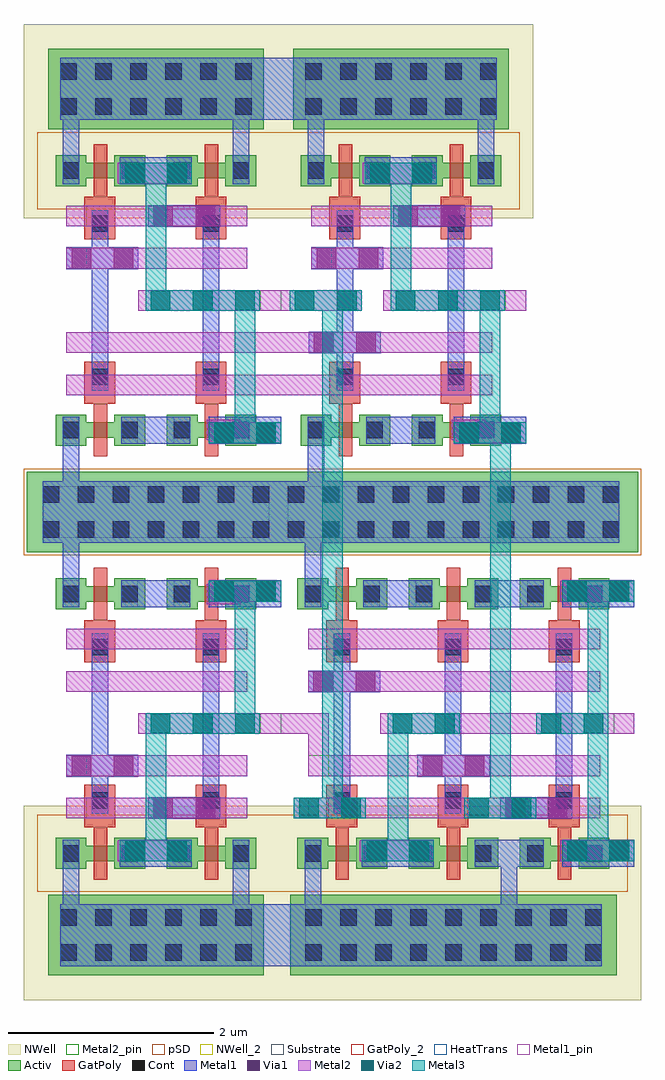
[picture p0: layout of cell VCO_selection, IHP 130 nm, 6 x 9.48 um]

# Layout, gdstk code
from math import pi, radians
import gdstk
lib = gdstk.Library(unit=1e-6, precision=1e-09)
def R(c, l, rs):  # rectangles x0, y0, x1, y1
    for r in rs: c.add(gdstk.rectangle(r[:2], r[2:], *l))
def A(c, l, x, y, w, h, nx, ny, dx, dy):  # array of equal rectangles
    R(c, l, [(x+i*dx, y+j*dy, x+i*dx+w, y+j*dy+h) for i in range(nx) for j in range(ny)])
Activ = (1, 0)
GatPoly = (5, 0)
GatPoly_2 = (5, 2)
Cont = (6, 0)
Metal1 = (8, 0)
Metal1_pin = (8, 2)
Metal2 = (10, 0)
Metal2_pin = (10, 2)
pSD = (14, 0)
Via1 = (19, 0)
Via2 = (29, 0)
Metal3 = (30, 0)
NWell = (31, 0)
NWell_2 = (31, 2)
Substrate = (40, 0)
HeatTrans = (51, 0)

via_4 = lib.new_cell('Via$4')
R(via_4, Metal2, [(-0.1,-0.35,0.1,0.35)])
R(via_4, Via2, [(-0.095,-0.3,0.095,-0.11), (-0.095,0.11,0.095,0.3)])
R(via_4, Metal3, [(-0.1,-0.35,0.1,0.35)])

via_2 = lib.new_cell('Via$2')
R(via_2, Metal1, [(-0.105,-0.35,0.105,0.35)])
R(via_2, Metal2, [(-0.1,-0.35,0.1,0.35)])
R(via_2, Via1, [(-0.095,-0.3,0.095,-0.11), (-0.095,0.11,0.095,0.3)])

ntap1 = lib.new_cell('ntap1')
R(ntap1, Activ, [(0,0,2.09,0.78)])
A(ntap1, Cont, 0.115, 0.14, 0.16, 0.16, 6, 2, 0.34, 0.34)
R(ntap1, Metal1, [(0.115,0.09,1.975,0.69)])
R(ntap1, Metal1_pin, [(0.115,0.09,1.975,0.69), (0.115,0.14,1.975,0.64)])
R(ntap1, NWell, [(-0.24,-0.24,2.33,1.02), (0,0,2.09,0.78)])
R(ntap1, NWell_2, [(0,0,2.09,0.78)])
ntap1.add(gdstk.Label('well', (1.045,0.01), layer=63, texttype=0))
ntap1.add(gdstk.Label('well', (1.045,0.01), layer=31, texttype=0))

ptap1 = lib.new_cell('ptap1')
R(ptap1, Activ, [(0,0,2.51,0.78)])
A(ptap1, Cont, 0.155, 0.14, 0.16, 0.16, 7, 2, 0.34, 0.34)
R(ptap1, Metal1, [(0.155,0.09,2.355,0.69), (0.155,0.14,2.355,0.64)])
R(ptap1, Metal1_pin, [(0.155,0.14,2.355,0.64)])
R(ptap1, pSD, [(-0.03,-0.03,2.54,0.81)])
R(ptap1, Substrate, [(0,0,2.51,0.78)])
ptap1.add(gdstk.Label('sub!', (1.255,0.01), layer=63, texttype=0))
ptap1.add(gdstk.Label('sub!', (1.255,0.01), layer=40, texttype=0))

nmos = lib.new_cell('nmos')
R(nmos, Activ, [(0,0,0.3,0.3), (0.57,0,0.87,0.3), (0,0.075,0.87,0.225)])
R(nmos, GatPoly, [(0.37,-0.105,0.5,0.405)])
R(nmos, GatPoly_2, [(0.37,-0.105,0.5,0.405)])
R(nmos, Cont, [(0.07,0.07,0.23,0.23), (0.64,0.07,0.8,0.23)])
R(nmos, Metal1, [(0.07,0.02,0.23,0.28), (0.64,0.02,0.8,0.28)])
R(nmos, Metal1_pin, [(0.07,0.02,0.23,0.28), (0.64,0.02,0.8,0.28)])
R(nmos, HeatTrans, [(0.37,-0.105,0.5,0.405)])
nmos.add(gdstk.Label('nmos', (0.435,0.15), layer=63, texttype=0))
nmos.add(gdstk.Label('nmos', (0.435,0.15), layer=51, texttype=0))

pmos = lib.new_cell('pmos')
R(pmos, Activ, [(0,0,0.3,0.3), (0.57,0,0.87,0.3), (0,0.075,0.87,0.225)])
R(pmos, GatPoly, [(0.37,-0.105,0.5,0.405), (0.37,-0.105,0.5,0.405)])
R(pmos, Cont, [(0.07,0.07,0.23,0.23), (0.64,0.07,0.8,0.23)])
R(pmos, Metal1, [(0.07,0.02,0.23,0.28), (0.07,0.02,0.23,0.28), (0.64,0.02,0.8,0.28), (0.64,0.02,0.8,0.28)])
R(pmos, pSD, [(-0.18,-0.225,1.05,0.525)])
R(pmos, NWell, [(-0.31,-0.31,1.18,0.61)])
R(pmos, Substrate, [(0.57,0,0.87,0.3)])
R(pmos, HeatTrans, [(0.37,-0.105,0.5,0.405)])
pmos.add(gdstk.Label('pmos', (0.435,0.15), layer=63, texttype=0))
pmos.add(gdstk.Label('pmos', (0.435,0.15), layer=51, texttype=0))

via = lib.new_cell('Via')
R(via, GatPoly, [(-0.15,-0.15,0.15,0.15)])
R(via, Cont, [(-0.08,-0.08,0.08,0.08)])
R(via, Metal1, [(-0.13,-0.08,0.13,0.08)])

via_7 = lib.new_cell('Via$7')
R(via_7, Metal2, [(-0.555,-0.1,0.555,0.1)])
A(via_7, Via2, -0.505, -0.095, 0.19, 0.19, 3, 1, 0.41, 0)
R(via_7, Metal3, [(-0.555,-0.1,0.555,0.1)])

via_6 = lib.new_cell('Via$6')
R(via_6, Metal1, [(-0.35,-0.105,0.35,0.105)])
R(via_6, Metal2, [(-0.35,-0.1,0.35,0.1)])
R(via_6, Via1, [(-0.3,-0.095,-0.11,0.095), (0.11,-0.095,0.3,0.095)])

nand_2in = lib.new_cell('NAND_2in')
R(nand_2in, GatPoly, [(9.375,7.165,9.675,7.275), (10.455,7.165,10.755,7.275), (9.375,9.065,9.675,9.175), (10.455,9.065,10.755,9.175)])
R(nand_2in, Metal1, [(9.735,6.78,10.405,7.04), (10.585,6.78,11.285,7.04), (9.72,9.3,10.42,9.56)])
R(nand_2in, Metal1_pin, [(9.16,6.015,9.36,6.215), (9.325,10.12,9.525,10.32)])
R(nand_2in, Metal2_pin, [(11.085,8.07,11.285,8.27), (9.2,8.48,9.4,8.68), (9.2,8.89,9.4,9.09)])
nand_2in.add(gdstk.FlexPath([(9.245,9.56),(9.245,10.525)], 0.16, ends="flush", simple_path=True, layer=8, datatype=0))  # Metal1
nand_2in.add(gdstk.FlexPath([(10.895,9.56),(10.895,10.525)], 0.16, ends="flush", simple_path=True, layer=8, datatype=0))  # Metal1
nand_2in.add(gdstk.FlexPath([(9.245,6.78),(9.245,6.415)], 0.16, ends="flush", simple_path=True, layer=8, datatype=0))  # Metal1
nand_2in.add(gdstk.FlexPath([(9.525,7.555),(9.525,8.785)], 0.16, ends="flush", simple_path=True, layer=8, datatype=0))  # Metal1
nand_2in.add(gdstk.FlexPath([(10.605,7.555),(10.605,8.785)], 0.16, ends="flush", simple_path=True, layer=8, datatype=0))  # Metal1
nand_2in.add(gdstk.FlexPath([(9.9,8.17),(11.285,8.17)], 0.2, ends="flush", simple_path=True, layer=10, datatype=0))  # Metal2
nand_2in.add(gdstk.FlexPath([(10.895,6.91),(10.565,6.91)], 0.2, ends="flush", simple_path=True, layer=10, datatype=0))  # Metal2
nand_2in.add(gdstk.FlexPath([(9.865,9.405),(9.7,9.405)], 0.2, ends="flush", simple_path=True, layer=10, datatype=0))  # Metal2
nand_2in.add(gdstk.FlexPath([(10.43,8.58),(10.43,8.58)], 0.2, ends="flush", simple_path=True, layer=10, datatype=0))  # Metal2
nand_2in.add(gdstk.FlexPath([(9.2,8.99),(10.955,8.99)], 0.2, ends="flush", simple_path=True, layer=10, datatype=0))  # Metal2
nand_2in.add(gdstk.FlexPath([(9.2,8.58),(10.955,8.58)], 0.2, ends="flush", simple_path=True, layer=10, datatype=0))  # Metal2
nand_2in.add(gdstk.FlexPath([(9.2,7.76),(10.955,7.76)], 0.2, ends="flush", simple_path=True, layer=10, datatype=0))  # Metal2
nand_2in.add(gdstk.FlexPath([(9.2,7.35),(10.955,7.35)], 0.2, ends="flush", simple_path=True, layer=10, datatype=0))  # Metal2
nand_2in.add(gdstk.FlexPath([(10.07,9.305),(10.07,8.07)], 0.2, ends="flush", simple_path=True, layer=30, datatype=0))  # Metal3
nand_2in.add(gdstk.FlexPath([(10.935,6.885),(10.935,8.07)], 0.2, ends="flush", simple_path=True, layer=30, datatype=0))  # Metal3
nand_2in.add(gdstk.Reference(via_4, (10.935,6.885), rotation=3*pi/2))
nand_2in.add(gdstk.Reference(via_2, (10.935,6.885), rotation=3*pi/2))
nand_2in.add(gdstk.Reference(ntap1, (9.025,9.835)))
nand_2in.add(gdstk.Reference(ptap1, (8.815,5.725)))
nand_2in.add(gdstk.Reference(nmos, (10.175,6.76)))
nand_2in.add(gdstk.Reference(pmos, (10.175,9.28)))
nand_2in.add(gdstk.Reference(nmos, (9.095,6.76)))
nand_2in.add(gdstk.Reference(pmos, (9.095,9.28)))
nand_2in.add(gdstk.Reference(via, (9.525,8.915), rotation=pi/2))
nand_2in.add(gdstk.Reference(via, (10.605,8.915), rotation=pi/2))
nand_2in.add(gdstk.Reference(via, (10.605,7.425), rotation=3*pi/2))
nand_2in.add(gdstk.Reference(via, (9.525,7.425), rotation=3*pi/2))
nand_2in.add(gdstk.Reference(via_2, (9.55,8.58), rotation=3*pi/2))
nand_2in.add(gdstk.Reference(via_7, (10.525,8.17)))
nand_2in.add(gdstk.Reference(via_2, (10.07,9.405), rotation=3*pi/2))
nand_2in.add(gdstk.Reference(via_4, (10.07,9.405), rotation=3*pi/2))
nand_2in.add(gdstk.Reference(via_6, (10.345,8.99)))
nand_2in.add(gdstk.Label('y', (11.185,8.17), layer=10, texttype=25))
nand_2in.add(gdstk.Label('b', (9.315,8.575), layer=10, texttype=25))
nand_2in.add(gdstk.Label('a', (9.3,8.99), layer=10, texttype=25))
nand_2in.add(gdstk.Label('VP', (9.295,10.22), layer=8, texttype=25))
nand_2in.add(gdstk.Label('GND', (9.26,6.115), layer=8, texttype=25))

ntap1_1 = lib.new_cell('ntap1$1')
R(ntap1_1, Activ, [(0,0,3.17,0.78)])
A(ntap1_1, Cont, 0.145, 0.14, 0.16, 0.16, 9, 2, 0.34, 0.34)
R(ntap1_1, Metal1, [(0.145,0.09,3.025,0.69)])
R(ntap1_1, Metal1_pin, [(0.145,0.09,3.025,0.69), (0.145,0.14,3.025,0.64)])
R(ntap1_1, NWell, [(-0.24,-0.24,3.41,1.02), (0,0,3.17,0.78)])
R(ntap1_1, NWell_2, [(0,0,3.17,0.78)])
ntap1_1.add(gdstk.Label('well', (1.585,0.01), layer=63, texttype=0))
ntap1_1.add(gdstk.Label('well', (1.585,0.01), layer=31, texttype=0))

ptap1_1 = lib.new_cell('ptap1$1')
R(ptap1_1, Activ, [(0,0,3.59,0.78)])
A(ptap1_1, Cont, 0.185, 0.14, 0.16, 0.16, 10, 2, 0.34, 0.34)
R(ptap1_1, Metal1, [(0.185,0.09,3.405,0.69), (0.185,0.14,3.405,0.64)])
R(ptap1_1, Metal1_pin, [(0.185,0.14,3.405,0.64)])
R(ptap1_1, pSD, [(-0.03,-0.03,3.62,0.81)])
R(ptap1_1, Substrate, [(0,0,3.59,0.78)])
ptap1_1.add(gdstk.Label('sub!', (1.795,0.01), layer=63, texttype=0))
ptap1_1.add(gdstk.Label('sub!', (1.795,0.01), layer=40, texttype=0))

nmos_1 = lib.new_cell('nmos$1')
R(nmos_1, Activ, [(0,0,0.3,0.3), (0.57,0,0.87,0.3), (0,0.075,0.87,0.225)])
R(nmos_1, GatPoly, [(0.37,-0.105,0.5,0.405)])
R(nmos_1, GatPoly_2, [(0.37,-0.105,0.5,0.405)])
R(nmos_1, Cont, [(0.07,0.07,0.23,0.23), (0.64,0.07,0.8,0.23)])
R(nmos_1, Metal1, [(0.07,0.02,0.23,0.28), (0.64,0.02,0.8,0.28)])
R(nmos_1, Metal1_pin, [(0.07,0.02,0.23,0.28), (0.64,0.02,0.8,0.28)])
R(nmos_1, HeatTrans, [(0.37,-0.105,0.5,0.405)])
nmos_1.add(gdstk.Label('nmos', (0.435,0.15), layer=63, texttype=0))
nmos_1.add(gdstk.Label('nmos', (0.435,0.15), layer=51, texttype=0))

pmos_1 = lib.new_cell('pmos$1')
R(pmos_1, Activ, [(0,0,0.3,0.3), (0.57,0,0.87,0.3), (0,0.075,0.87,0.225)])
R(pmos_1, GatPoly, [(0.37,-0.105,0.5,0.405), (0.37,-0.105,0.5,0.405)])
R(pmos_1, Cont, [(0.07,0.07,0.23,0.23), (0.64,0.07,0.8,0.23)])
R(pmos_1, Metal1, [(0.07,0.02,0.23,0.28), (0.07,0.02,0.23,0.28), (0.64,0.02,0.8,0.28), (0.64,0.02,0.8,0.28)])
R(pmos_1, pSD, [(-0.18,-0.225,1.05,0.525)])
R(pmos_1, NWell, [(-0.31,-0.31,1.18,0.61)])
R(pmos_1, Substrate, [(0.57,0,0.87,0.3)])
R(pmos_1, HeatTrans, [(0.37,-0.105,0.5,0.405)])
pmos_1.add(gdstk.Label('pmos', (0.435,0.15), layer=63, texttype=0))
pmos_1.add(gdstk.Label('pmos', (0.435,0.15), layer=51, texttype=0))

via_8 = lib.new_cell('Via$8')
R(via_8, GatPoly, [(-0.15,-0.15,0.15,0.15)])
R(via_8, Cont, [(-0.08,-0.08,0.08,0.08)])
R(via_8, Metal1, [(-0.13,-0.08,0.13,0.08)])

via_2_1 = lib.new_cell('Via$2$1')
R(via_2_1, Metal1, [(-0.105,-0.35,0.105,0.35)])
R(via_2_1, Metal2, [(-0.1,-0.35,0.1,0.35)])
R(via_2_1, Via1, [(-0.095,-0.3,0.095,-0.11), (-0.095,0.11,0.095,0.3)])

via_8_1 = lib.new_cell('Via$8$1')
R(via_8_1, Metal2, [(-0.35,-0.1,0.35,0.1)])
R(via_8_1, Via2, [(-0.3,-0.095,-0.11,0.095), (0.11,-0.095,0.3,0.095)])
R(via_8_1, Metal3, [(-0.35,-0.1,0.35,0.1)])

via_4_1 = lib.new_cell('Via$4$1')
R(via_4_1, Metal2, [(-0.1,-0.35,0.1,0.35)])
R(via_4_1, Via2, [(-0.095,-0.3,0.095,-0.11), (-0.095,0.11,0.095,0.3)])
R(via_4_1, Metal3, [(-0.1,-0.35,0.1,0.35)])

via_6_1 = lib.new_cell('Via$6$1')
R(via_6_1, Metal1, [(-0.35,-0.105,0.35,0.105)])
R(via_6_1, Metal2, [(-0.35,-0.1,0.35,0.1)])
R(via_6_1, Via1, [(-0.3,-0.095,-0.11,0.095), (0.11,-0.095,0.3,0.095)])

nand_3in = lib.new_cell('NAND_3in')
A(nand_3in, GatPoly, 9.375, 7.165, 0.3, 0.11, 3, 2, 1.08, 1.9)
R(nand_3in, Metal1, [(9.735,6.78,10.405,7.04), (10.815,6.78,11.485,7.04), (11.665,6.78,12.365,7.04), (9.72,9.3,10.42,9.56), (10.815,9.3,11.485,9.56), (11.665,9.3,12.365,9.56)])
R(nand_3in, Metal1_pin, [(9.16,6.015,9.36,6.215), (9.325,10.12,9.525,10.32)])
R(nand_3in, Metal2_pin, [(9.2,7.66,9.4,7.86), (12.165,8.07,12.365,8.27), (9.2,8.48,9.4,8.68), (9.2,8.89,9.4,9.09)])
nand_3in.add(gdstk.FlexPath([(11.685,7.555),(11.685,8.785)], 0.16, ends="flush", simple_path=True, layer=8, datatype=0))  # Metal1
nand_3in.add(gdstk.FlexPath([(11.15,9.56),(11.15,9.925)], 0.16, ends="flush", simple_path=True, layer=8, datatype=0))  # Metal1
nand_3in.add(gdstk.FlexPath([(9.245,9.56),(9.245,10.525)], 0.16, ends="flush", simple_path=True, layer=8, datatype=0))  # Metal1
nand_3in.add(gdstk.FlexPath([(9.245,6.78),(9.245,6.415)], 0.16, ends="flush", simple_path=True, layer=8, datatype=0))  # Metal1
nand_3in.add(gdstk.FlexPath([(9.525,7.555),(9.525,8.785)], 0.16, ends="flush", simple_path=True, layer=8, datatype=0))  # Metal1
nand_3in.add(gdstk.FlexPath([(10.605,7.555),(10.605,8.785)], 0.16, ends="flush", simple_path=True, layer=8, datatype=0))  # Metal1
nand_3in.add(gdstk.FlexPath([(9.9,8.17),(12.365,8.17)], 0.2, ends="flush", simple_path=True, layer=10, datatype=0))  # Metal2
nand_3in.add(gdstk.FlexPath([(11.81,9.405),(11.645,9.405)], 0.2, ends="flush", simple_path=True, layer=10, datatype=0))  # Metal2
nand_3in.add(gdstk.FlexPath([(11.81,6.885),(11.645,6.885)], 0.2, ends="flush", simple_path=True, layer=10, datatype=0))  # Metal2
nand_3in.add(gdstk.FlexPath([(9.2,7.76),(12.035,7.76)], 0.2, ends="flush", simple_path=True, layer=10, datatype=0))  # Metal2
nand_3in.add(gdstk.FlexPath([(9.2,7.35),(12.035,7.35)], 0.2, ends="flush", simple_path=True, layer=10, datatype=0))  # Metal2
nand_3in.add(gdstk.FlexPath([(9.2,8.99),(12.035,8.99)], 0.2, ends="flush", simple_path=True, layer=10, datatype=0))  # Metal2
nand_3in.add(gdstk.FlexPath([(9.2,8.58),(12.035,8.58)], 0.2, ends="flush", simple_path=True, layer=10, datatype=0))  # Metal2
nand_3in.add(gdstk.FlexPath([(9.865,9.405),(9.7,9.405)], 0.2, ends="flush", simple_path=True, layer=10, datatype=0))  # Metal2
nand_3in.add(gdstk.FlexPath([(10.43,8.58),(10.43,8.58)], 0.2, ends="flush", simple_path=True, layer=10, datatype=0))  # Metal2
nand_3in.add(gdstk.FlexPath([(12.015,6.885),(12.015,8.17)], 0.2, ends="flush", simple_path=True, layer=30, datatype=0))  # Metal3
nand_3in.add(gdstk.FlexPath([(12.015,9.405),(12.015,8.17)], 0.2, ends="flush", simple_path=True, layer=30, datatype=0))  # Metal3
nand_3in.add(gdstk.FlexPath([(10.07,9.305),(10.07,8.07)], 0.2, ends="flush", simple_path=True, layer=30, datatype=0))  # Metal3
nand_3in.add(gdstk.Reference(ntap1_1, (9.025,9.835)))
nand_3in.add(gdstk.Reference(ptap1_1, (8.815,5.725)))
nand_3in.add(gdstk.Reference(nmos_1, (10.175,6.76)))
nand_3in.add(gdstk.Reference(pmos_1, (10.175,9.28)))
nand_3in.add(gdstk.Reference(nmos_1, (9.095,6.76)))
nand_3in.add(gdstk.Reference(pmos_1, (9.095,9.28)))
nand_3in.add(gdstk.Reference(via_8, (9.525,8.915), rotation=pi/2))
nand_3in.add(gdstk.Reference(via_8, (10.605,8.915), rotation=pi/2))
nand_3in.add(gdstk.Reference(via_8, (10.605,7.425), rotation=3*pi/2))
nand_3in.add(gdstk.Reference(via_8, (9.525,7.425), rotation=3*pi/2))
nand_3in.add(gdstk.Reference(via_2_1, (10.61,8.58), rotation=3*pi/2))
nand_3in.add(gdstk.Reference(via_8_1, (10.32,8.17)))
nand_3in.add(gdstk.Reference(via_2_1, (10.07,9.405), rotation=3*pi/2))
nand_3in.add(gdstk.Reference(via_4_1, (10.07,9.405), rotation=3*pi/2))
nand_3in.add(gdstk.Reference(via_6_1, (11.415,8.99)))
nand_3in.add(gdstk.Reference(pmos_1, (11.255,9.28)))
nand_3in.add(gdstk.Reference(nmos_1, (11.255,6.76)))
nand_3in.add(gdstk.Reference(via_8, (11.685,8.915), rotation=pi/2))
nand_3in.add(gdstk.Reference(via_8, (11.685,7.425), rotation=3*pi/2))
nand_3in.add(gdstk.Reference(via_2_1, (9.55,7.76), rotation=3*pi/2))
nand_3in.add(gdstk.Reference(via_2_1, (12.015,9.405), rotation=3*pi/2))
nand_3in.add(gdstk.Reference(via_4_1, (12.015,9.405), rotation=3*pi/2))
nand_3in.add(gdstk.Reference(via_2_1, (12.015,6.885), rotation=3*pi/2))
nand_3in.add(gdstk.Reference(via_4_1, (12.015,6.885), rotation=3*pi/2))
nand_3in.add(gdstk.Reference(via_8_1, (11.765,8.17)))
nand_3in.add(gdstk.Label('c', (9.315,7.755), layer=10, texttype=25))
nand_3in.add(gdstk.Label('y', (12.265,8.17), layer=10, texttype=25))
nand_3in.add(gdstk.Label('b', (9.315,8.575), layer=10, texttype=25))
nand_3in.add(gdstk.Label('a', (9.3,8.99), layer=10, texttype=25))
nand_3in.add(gdstk.Label('VP', (9.295,10.22), layer=8, texttype=25))
nand_3in.add(gdstk.Label('GND', (9.26,6.115), layer=8, texttype=25))

via_10 = lib.new_cell('Via$10')
R(via_10, Metal2, [(-0.35,-0.1,0.35,0.1)])
R(via_10, Via2, [(-0.3,-0.095,-0.11,0.095), (0.11,-0.095,0.3,0.095)])
R(via_10, Metal3, [(-0.35,-0.1,0.35,0.1)])

via_12 = lib.new_cell('Via$12')
R(via_12, Metal2, [(-0.35,-0.1,0.35,0.1)])
R(via_12, Via2, [(-0.3,-0.095,-0.11,0.095), (0.11,-0.095,0.3,0.095)])
R(via_12, Metal3, [(-0.35,-0.1,0.35,0.1)])

via_14 = lib.new_cell('Via$14')
R(via_14, Metal1, [(-0.35,-0.105,0.35,0.105)])
R(via_14, Metal2, [(-0.35,-0.1,0.35,0.1)])
R(via_14, Via1, [(-0.3,-0.095,-0.11,0.095), (0.11,-0.095,0.3,0.095)])

vco_selection = lib.new_cell('VCO_selection')
R(vco_selection, Metal1, [(13.685,0.83,14.405,1.43), (13.84,4.94,14.175,5.54), (13.58,9.05,14.325,9.65)])
R(vco_selection, pSD, [(13.87,1.55,14,2.3), (13.91,8.18,14.075,8.93)])
vco_selection.add(gdstk.FlexPath([(14.59,6.885),(14.59,6.885)], 0.16, ends="flush", simple_path=True, layer=8, datatype=0))  # Metal1
vco_selection.add(gdstk.FlexPath([(13.64,6.885),(14.265,6.885)], 0.2, ends="flush", simple_path=True, layer=10, datatype=0))  # Metal2
vco_selection.add(gdstk.FlexPath([(13.64,6.475),(14.265,6.475)], 0.2, ends="flush", simple_path=True, layer=10, datatype=0))  # Metal2
vco_selection.add(gdstk.FlexPath([(13.97,3.185),(14.335,3.185),(14.335,2.675)], 0.2, ends="flush", simple_path=True, layer=10, datatype=0))  # Metal2
vco_selection.add(gdstk.FlexPath([(14.47,2.365),(14.47,2.365)], 0.2, ends="flush", simple_path=True, layer=10, datatype=0))  # Metal2
vco_selection.add(gdstk.FlexPath([(14.47,7.295),(14.47,7.295)], 0.2, ends="flush", simple_path=True, layer=10, datatype=0))  # Metal2
vco_selection.add(gdstk.FlexPath([(13.97,7.295),(14.055,7.295)], 0.2, ends="flush", simple_path=True, layer=10, datatype=0))  # Metal2
vco_selection.add(gdstk.FlexPath([(16.1,6.01),(16.1,2.365)], 0.2, ends="flush", simple_path=True, layer=30, datatype=0))  # Metal3
vco_selection.add(gdstk.FlexPath([(14.47,7.295),(14.47,2.365)], 0.2, ends="flush", simple_path=True, layer=30, datatype=0))  # Metal3
vco_selection.add(gdstk.Reference(nand_2in, (2.685,-0.875)))
vco_selection.add(gdstk.Reference(nand_2in, (5.065,-0.875)))
vco_selection.add(gdstk.Reference(nand_2in, (2.685,11.355), x_reflection=True))
vco_selection.add(gdstk.Reference(nand_3in, (5.035,11.355), x_reflection=True))
vco_selection.add(gdstk.Reference(via_10, (16.1,2.365)))
vco_selection.add(gdstk.Reference(via_12, (14.445,2.365)))
vco_selection.add(gdstk.Reference(via_12, (14.405,7.295)))
vco_selection.add(gdstk.Reference(via_14, (14.59,6.885)))

lib.write_gds('VCO_selection.gds')
